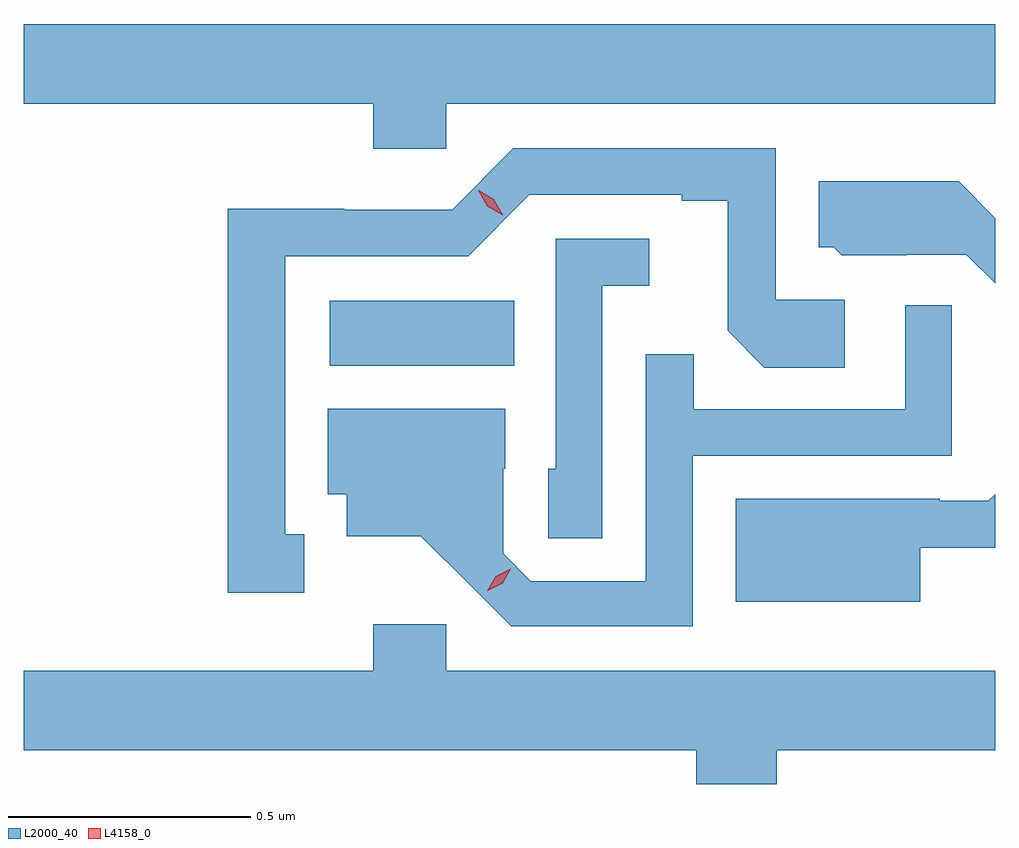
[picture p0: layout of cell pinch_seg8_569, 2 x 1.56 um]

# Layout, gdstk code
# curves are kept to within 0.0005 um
import gdstk
lib = gdstk.Library(unit=1e-6, precision=1e-09)
def R(c, l, rs):  # rectangles x0, y0, x1, y1
    for r in rs: c.add(gdstk.rectangle(r[:2], r[2:], *l))
def P(c, l, *ps):  # polygons
    for p in ps: c.add(gdstk.Polygon(p, *l))
L2000_40 = (2000, 40)
L4158_0 = (4158, 0)

pinch_seg8_569 = lib.new_cell('pinch_seg8_569')
R(pinch_seg8_569, L2000_40, [(142.038,1103.972,142.418,1104.106)])
P(pinch_seg8_569, L2000_40, [(142.278,1104.512),(143.408,1104.512),(143.408,1104.676),(141.408,1104.676),(141.408,1104.512),(142.127,1104.512),(142.127,1104.419),(142.278,1104.419)],
  [(141.985,1103.625),(141.946,1103.625),(141.946,1104.198),(142.323,1104.198),(142.449,1104.324),(142.763,1104.324),(142.763,1104.312),(142.857,1104.312),(142.857,1104.044),(142.933,1103.968),(143.098,1103.968),(143.098,1104.108),(142.956,1104.108),(142.956,1104.42),(142.416,1104.42),(142.29,1104.294),(142.068,1104.294),(142.068,1104.296),(141.828,1104.296),(141.828,1103.505),(141.985,1103.505)],
  [(143.408,1104.276),(143.333,1104.352),(143.045,1104.352),(143.045,1104.216),(143.076,1104.216),(143.092,1104.2),(143.226,1104.2),(143.226,1104.201),(143.349,1104.201),(143.408,1104.142)],
  [(142.599,1104.137),(142.696,1104.137),(142.696,1104.234),(142.503,1104.234),(142.503,1103.76),(142.488,1103.76),(142.488,1103.617),(142.599,1103.617)],
  [(142.785,1103.787),(143.319,1103.787),(143.319,1104.097),(143.223,1104.097),(143.223,1103.883),(142.787,1103.883),(142.787,1103.996),(142.689,1103.996),(142.689,1103.529),(142.452,1103.529),(142.395,1103.586),(142.395,1103.76),(142.399,1103.76),(142.399,1103.884),(142.034,1103.884),(142.034,1103.708),(142.073,1103.708),(142.073,1103.621),(142.225,1103.621),(142.412,1103.436),(142.785,1103.436)],
  [(143.254,1103.597),(143.408,1103.597),(143.408,1103.708),(143.394,1103.694),(143.294,1103.694),(143.294,1103.698),(142.874,1103.698),(142.874,1103.486),(143.254,1103.486)],
  [(142.958,1103.18),(143.408,1103.18),(143.408,1103.344),(142.278,1103.344),(142.278,1103.44),(142.127,1103.44),(142.127,1103.344),(141.408,1103.344),(141.408,1103.18),(142.793,1103.18),(142.793,1103.111),(142.958,1103.111)])
P(pinch_seg8_569, L4158_0, [(142.362,1103.509),(142.362,1103.509),(142.38,1103.539),(142.411,1103.554),(142.411,1103.554),(142.411,1103.554),(142.394,1103.524),(142.363,1103.509)],
  [(142.394,1104.282),(142.362,1104.301),(142.344,1104.334),(142.344,1104.334),(142.345,1104.334),(142.376,1104.315),(142.394,1104.283),(142.394,1104.282)])

lib.write_gds('pinch_seg8_569.gds')
